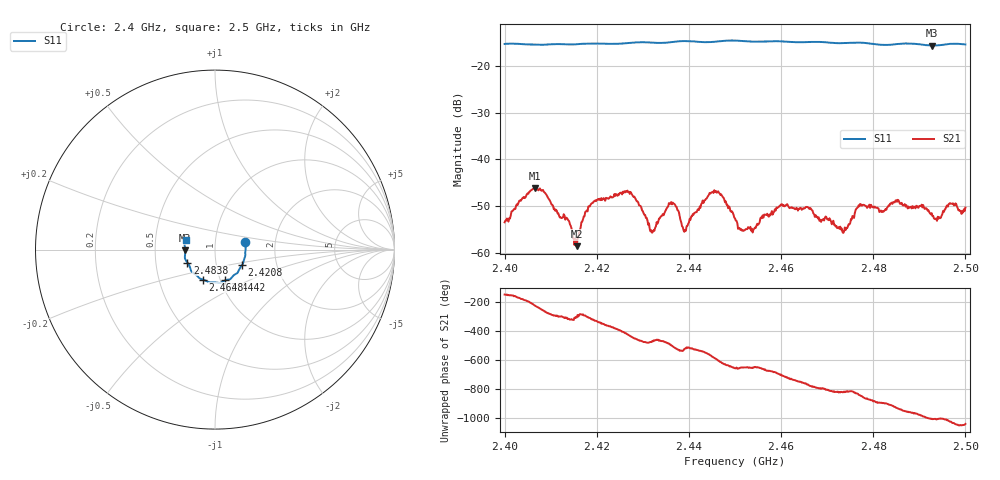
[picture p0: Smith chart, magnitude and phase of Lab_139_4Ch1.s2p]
# Hz S RI R 50
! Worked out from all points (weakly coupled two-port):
!   601 points, 2.4 GHz to 2.5 GHz, reference 50 ohm
!   highest |S21| = -46.12 dB at 2.4065 GHz (marker M1); lowest = -58.6 dB at 2.4157 GHz (marker M2)
!   lowest |S11| = -15.6 dB at 2.4928 GHz (marker M3), VSWR 1.40, Z = 35.8 - j0.357 ohm
!   |S11| at or under -10 dB: start of sweep to end of sweep
!   S12 and S22 are empty: the file has one direction only
!   S11 on the Smith chart (normalised r, x): 2.4 GHz: 1.40, +0.12; 2.4208 GHz: 1.33, -0.24; 2.4442 GHz: 1.05, -0.37; 2.4648 GHz: 0.83, -0.29; 2.4838 GHz: 0.73, -0.11; 2.5 GHz: 0.72, +0.08
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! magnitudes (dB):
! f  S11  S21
! 2.4 GHz  -15.3  -53.5
! 2.4065 GHz  -15.4  -46.1
! 2.4157 GHz  -15.3  -58.6
! 2.4167 GHz  -15.2  -53.5
! 2.4208 GHz  -15.2  -48.8
! 2.4268 GHz  -15.1  -47.1
! 2.432 GHz  -15.0  -55.7
! 2.4333 GHz  -15.0  -53.4
! 2.4365 GHz  -14.8  -49.3
! 2.4392 GHz  -14.6  -55.1
! 2.4442 GHz  -14.9  -47.8
! 2.45 GHz  -14.5  -52.6
! 2.454 GHz  -14.8  -55.1
! 2.46 GHz  -14.7  -49.7
! 2.4648 GHz  -14.9  -50.5
! 2.4667 GHz  -14.8  -50.9
! 2.4735 GHz  -15.1  -55.8
! 2.4772 GHz  -15.0  -49.6
! 2.4833 GHz  -15.5  -49.9
! 2.4838 GHz  -15.4  -49.5
! 2.4928 GHz  -15.6  -52.2
! 2.5 GHz  -15.4  -50.3
